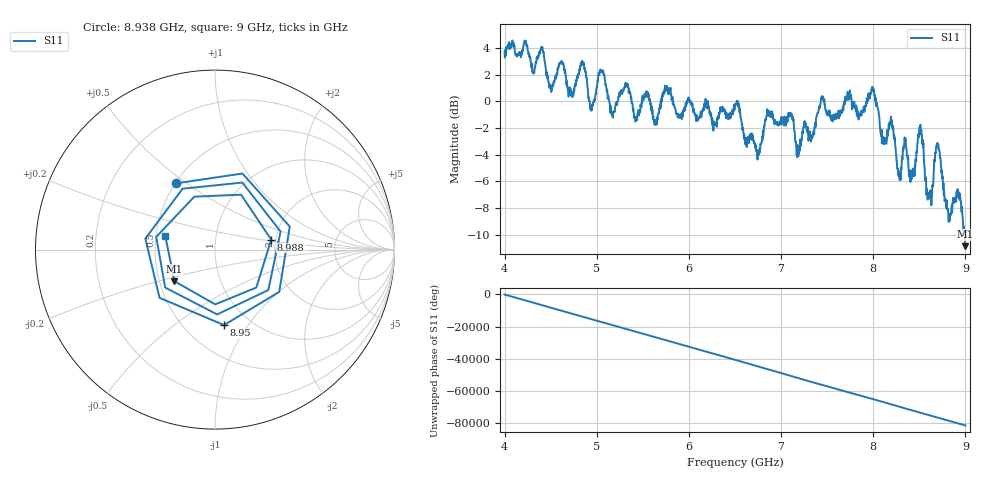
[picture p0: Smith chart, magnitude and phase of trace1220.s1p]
! Created with skrf 1.8.0 (http://scikit-rf.org).
# Hz S RI R 50.0
!freq ReS11 ImS11
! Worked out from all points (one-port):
!   1601 points, 4 GHz to 9 GHz, reference 50 ohm
!   lowest |S11| = -10.9 dB at 8.997 GHz (marker M1), VSWR 1.80, Z = 29.9 - j11.5 ohm
!   |S11| at or under -10 dB: 8.988952 GHz to end of sweep
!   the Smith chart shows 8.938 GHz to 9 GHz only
!   S11 on the Smith chart (normalised r, x): 8.938 GHz: 0.51, +0.46; 8.95 GHz: 0.76, -0.78; 8.988 GHz: 1.89, +0.24; 9 GHz: 0.56, +0.09
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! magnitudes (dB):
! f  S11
! 4 GHz  3.7
! 4.625 GHz  2.8
! 4.719 GHz  0.5
! 4.853 GHz  2.8
! 4.941 GHz  -0.5
! 5.047 GHz  2.4
! 5.169 GHz  -0.8
! 5.25 GHz  0.7
! 5.875 GHz  -1.1
! 6.5 GHz  -0.3
! 6.747 GHz  -3.8
! 6.853 GHz  -0.7
! 7.125 GHz  -1.3
! 7.191 GHz  -3.7
! 7.444 GHz  0.1
! 7.75 GHz  0.4
! 8 GHz  0.7
! 8.278 GHz  -5.7
! 8.375 GHz  -4.4
! 8.512 GHz  -1.8
! 8.606 GHz  -7.0
! 8.697 GHz  -3.1
! 8.819 GHz  -9.0
! 8.938 GHz  -7.4
! 8.95 GHz  -7.5
! 8.988 GHz  -10.0
! 8.997 GHz  -10.9
! 9 GHz  -10.8
